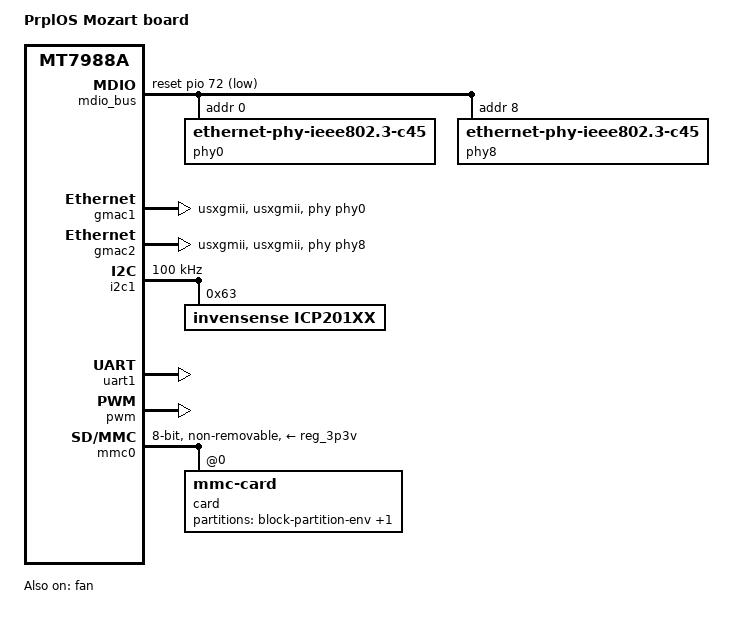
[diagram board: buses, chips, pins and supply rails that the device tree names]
// SPDX-License-Identifier: (GPL-2.0 OR MIT)
/*
 * Copyright (C) 2022 MediaTek Inc.
 * Author: Sam.Shih <sam.shih@mediatek.com>
 */

/dts-v1/;
#include "mt7988a-rfb.dts"
#include <dt-bindings/gpio/gpio.h>

/ {
	model = "PrplOS Mozart board";

	chosen {
		rootdisk-emmc = <&emmc_rootfs>;
	};
};

&pio {
	mdio0_pins: mdio0-pins {
		mux {
			function = "eth";
			groups = "mdc_mdio0";
		};

		conf {
			groups = "mdc_mdio0";
			drive-strength = <MTK_DRIVE_10mA>;
		};
	};

	spic_pins: spi1-pins {
		mux {
			function = "spi";
			groups = "spi1";
		};
	};
};

&usxgmiisys0 {
	mediatek,pnswap-rx;
};

&usxgmiisys1 {
	mediatek,pnswap-rx;
};

&mdio_bus {
	#address-cells = <1>;
	#size-cells = <0>;
	reset-gpios = <&pio 72 1>;
	reset-delay-us = <40000>;

	/* external Realtek RTL8261N */
	phy0: ethernet-phy@0 {
		reg = <0>;
		compatible = "ethernet-phy-ieee802.3-c45";
	};

	phy8: ethernet-phy@8 {
		reg = <8>;
		compatible = "ethernet-phy-ieee802.3-c45";
	};
};

&gmac1 {
	phy-mode = "usxgmii";
	phy-connection-type = "usxgmii";
	phy = <&phy0>;
	status = "okay";
};

&gmac2 {
	phy-mode = "usxgmii";
	phy-connection-type = "usxgmii";
	phy = <&phy8>;
	status = "okay";
};

&i2c1 {
	pinctrl-names = "default";
	pinctrl-0 = <&i2c1_pins>;
	clock-frequency = <100000>;
	status = "okay";

	icp201xx@63{
		compatible = "invensense,icp201xx";
		reg = <0x63>;
		#address-cells = <1>;
		#size-cells = <0>;
	};
};

&uart1 {
	status = "okay";
};

&fan {
	pwms = <&pwm 1 50000 0>;
	status = "okay";
};

&pwm {
	status = "okay";
};

&spi1 {
	pinctrl-names = "default";
	/* pin shared with snfi */
	pinctrl-0 = <&spic_pins>;
	status = "disabled";
};

&mmc0 {
	pinctrl-names = "default", "state_uhs";
	pinctrl-0 = <&mmc0_pins_emmc_51>;
	pinctrl-1 = <&mmc0_pins_emmc_51>;
	bus-width = <8>;
	max-frequency = <200000000>;
	cap-mmc-highspeed;
	mmc-hs200-1_8v;
	mmc-hs400-1_8v;
	hs400-ds-delay = <0x12814>;
	vqmmc-supply = <&reg_1p8v>;
	vmmc-supply = <&reg_3p3v>;
	non-removable;
	no-sd;
	no-sdio;
	status = "okay";

	card@0 {
		compatible = "mmc-card";
		reg = <0>;

		block {
			compatible = "block-device";
			partitions {
				block-partition-env {
					partname = "u-boot-env";
					nvmem-layout {
						compatible = "u-boot,env-layout";
					};
				};

				emmc_rootfs: block-partition-production {
					partname = "firmware";
				};
			};
		};
	};
};
